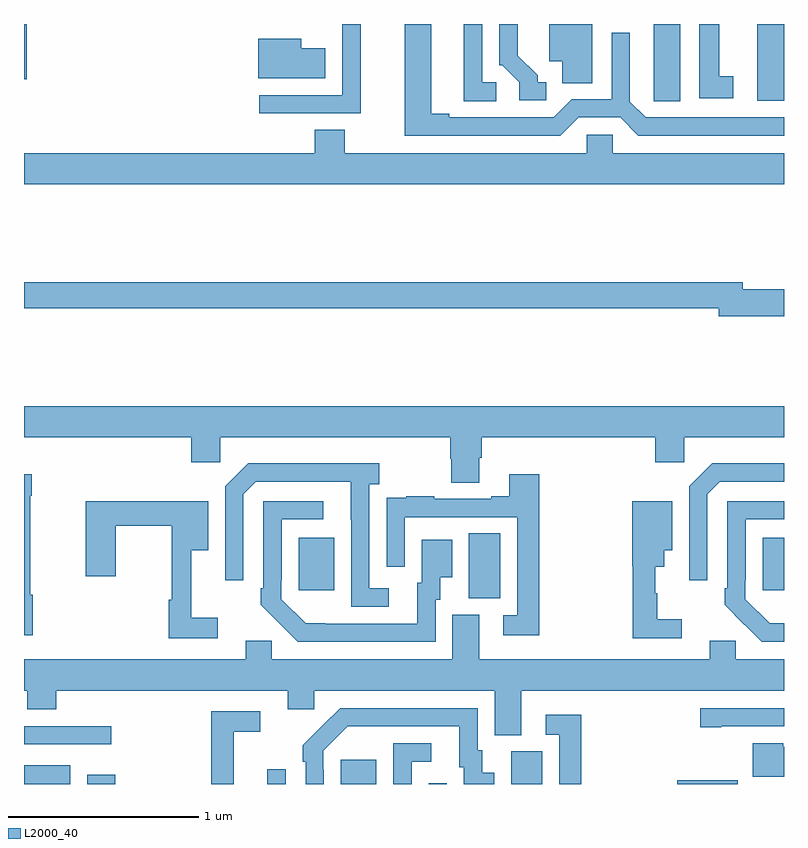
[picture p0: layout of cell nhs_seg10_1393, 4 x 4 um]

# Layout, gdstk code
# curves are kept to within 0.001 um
import gdstk
lib = gdstk.Library(unit=1e-6, precision=1e-09)
def R(c, l, rs):  # rectangles x0, y0, x1, y1
    for r in rs: c.add(gdstk.rectangle(r[:2], r[2:], *l))
def P(c, l, *ps):  # polygons
    for p in ps: c.add(gdstk.Polygon(p, *l))
L2000_40 = (2000, 40)

nhs_seg10_1393 = lib.new_cell('nhs_seg10_1393')
R(nhs_seg10_1393, L2000_40, [(183,1290.5,183.244,1290.598), (183.332,1290.5,183.479,1290.55), (184.281,1290.5,184.377,1290.577), (184.667,1290.5,184.855,1290.628), (185.13,1290.5,185.226,1290.505), (185.564,1290.5,185.728,1290.672), (186.437,1290.5,186.757,1290.52), (183,1290.708,183.46,1290.804), (185.342,1291.477,185.506,1291.82), (184.445,1291.521,184.633,1291.795), (186.887,1291.521,187,1291.795), (186.86,1294.095,187,1294.5), (183,1294.209,183.014,1294.5)])
P(nhs_seg10_1393, L2000_40, [(186.733,1294.226),(186.658,1294.226),(186.658,1294.5),(186.554,1294.5),(186.554,1294.11),(186.733,1294.11)],
  [(185.749,1294.194),(185.704,1294.194),(185.704,1294.229),(185.599,1294.334),(185.599,1294.5),(185.502,1294.5),(185.502,1294.284),(185.517,1294.284),(185.607,1294.194),(185.607,1294.098),(185.749,1294.098)],
  [(185.992,1294.5),(185.765,1294.5),(185.765,1294.304),(185.834,1294.304),(185.834,1294.189),(185.992,1294.189)],
  [(186.454,1294.5),(186.314,1294.5),(186.314,1294.201),(186.315,1294.201),(186.315,1294.093),(186.454,1294.093)],
  [(185.919,1294.008),(186.137,1294.008),(186.233,1293.912),(187,1293.912),(187,1294.008),(186.273,1294.008),(186.189,1294.092),(186.189,1294.453),(186.093,1294.453),(186.093,1294.104),(185.883,1294.104),(185.787,1294.008),(185.239,1294.008),(185.239,1294.028),(185.143,1294.028),(185.143,1294.5),(185.003,1294.5),(185.003,1293.912),(185.823,1293.912)],
  [(185.485,1294.194),(185.412,1294.194),(185.412,1294.5),(185.315,1294.5),(185.315,1294.093),(185.485,1294.093)],
  [(184.773,1294.5),(184.674,1294.5),(184.674,1294.125),(184.239,1294.125),(184.239,1294.029),(184.773,1294.029)],
  [(184.585,1294.372),(184.459,1294.372),(184.459,1294.423),(184.232,1294.423),(184.232,1294.214),(184.585,1294.214)],
  [(187,1293.82),(186.099,1293.82),(186.099,1293.918),(185.961,1293.918),(185.961,1293.82),(184.689,1293.82),(184.689,1293.944),(184.529,1293.944),(184.529,1293.82),(183,1293.82),(183,1293.656),(187,1293.656)],
  [(187,1293.104),(186.784,1293.104),(186.784,1293.14),(183,1293.14),(183,1293.004),(186.656,1293.004),(186.656,1292.962),(187,1292.962)],
  [(185.395,1292.218),(185.408,1292.218),(185.408,1292.324),(186.323,1292.324),(186.323,1292.193),(186.474,1292.193),(186.474,1292.324),(187,1292.324),(187,1292.488),(183,1292.488),(183,1292.324),(183.881,1292.324),(183.881,1292.193),(184.032,1292.193),(184.032,1292.324),(185.243,1292.324),(185.243,1292.211),(185.248,1292.211),(185.248,1292.086),(185.395,1292.086)],
  [(184.921,1291.53),(184.818,1291.53),(184.818,1292.078),(184.87,1292.078),(184.87,1292.188),(184.18,1292.188),(184.059,1292.067),(184.059,1291.572),(184.155,1291.572),(184.155,1292.025),(184.221,1292.091),(184.721,1292.091),(184.722,1291.434),(184.921,1291.434)],
  [(186.597,1292.025),(186.663,1292.091),(187,1292.091),(187,1292.188),(186.622,1292.188),(186.501,1292.067),(186.501,1291.572),(186.597,1291.572)],
  [(183.047,1291.496),(183.032,1291.496),(183.032,1292.018),(183.041,1292.018),(183.041,1292.131),(183,1292.131),(183,1291.284),(183.047,1291.284)],
  [(185.711,1292.131),(185.555,1292.131),(185.555,1292.014),(185.459,1292.014),(185.459,1292.001),(185.159,1292.001),(185.159,1292.014),(185.011,1292.014),(185.011,1292.007),(184.909,1292.007),(184.909,1291.898),(184.908,1291.898),(184.908,1291.644),(185.004,1291.644),(185.004,1291.905),(185.595,1291.905),(185.595,1291.389),(185.523,1291.389),(185.523,1291.284),(185.711,1291.284)],
  [(187,1291.345),(186.924,1291.345),(186.795,1291.473),(186.795,1291.573),(186.798,1291.573),(186.798,1291.893),(187,1291.893),(187,1291.989),(186.702,1291.989),(186.702,1291.531),(186.687,1291.531),(186.687,1291.443),(186.884,1291.248),(187,1291.248)],
  [(185.166,1291.47),(185.191,1291.47),(185.191,1291.589),(185.254,1291.589),(185.254,1291.786),(185.093,1291.786),(185.093,1291.56),(185.069,1291.56),(185.069,1291.344),(184.482,1291.345),(184.353,1291.473),(184.353,1291.573),(184.356,1291.573),(184.356,1291.893),(184.576,1291.893),(184.576,1291.989),(184.26,1291.989),(184.26,1291.531),(184.245,1291.531),(184.245,1291.443),(184.442,1291.248),(185.166,1291.248)],
  [(184.021,1291.375),(183.881,1291.375),(183.881,1291.73),(183.97,1291.73),(183.97,1291.987),(183.326,1291.987),(183.326,1291.593),(183.484,1291.593),(183.484,1291.858),(183.778,1291.858),(183.778,1291.469),(183.763,1291.469),(183.763,1291.266),(184.021,1291.266)],
  [(186.463,1291.367),(186.334,1291.367),(186.334,1291.503),(186.323,1291.503),(186.323,1291.643),(186.37,1291.643),(186.37,1291.73),(186.412,1291.73),(186.412,1291.987),(186.2,1291.987),(186.2,1291.647),(186.205,1291.647),(186.205,1291.266),(186.463,1291.266)],
  [(185.617,1290.992),(187,1290.992),(187,1291.156),(186.747,1291.156),(186.747,1291.254),(186.608,1291.254),(186.608,1291.156),(185.395,1291.156),(185.395,1291.392),(185.255,1291.392),(185.255,1291.156),(184.305,1291.156),(184.305,1291.254),(184.166,1291.254),(184.166,1291.156),(183,1291.156),(183,1290.992),(183.017,1290.992),(183.017,1290.893),(183.17,1290.893),(183.17,1290.992),(184.388,1290.992),(184.388,1290.894),(184.527,1290.894),(184.527,1290.992),(185.477,1290.992),(185.477,1290.757),(185.617,1290.757)],
  [(184.578,1290.575),(184.575,1290.575),(184.575,1290.675),(184.704,1290.804),(185.291,1290.804),(185.291,1290.588),(185.315,1290.588),(185.315,1290.5),(185.476,1290.5),(185.476,1290.559),(185.413,1290.559),(185.413,1290.678),(185.388,1290.678),(185.388,1290.9),(184.664,1290.9),(184.467,1290.705),(184.467,1290.617),(184.482,1290.617),(184.482,1290.5),(184.578,1290.5)],
  [(186.67,1290.804),(187,1290.804),(187,1290.9),(186.558,1290.9),(186.558,1290.799),(186.67,1290.799)],
  [(184.103,1290.774),(184.243,1290.774),(184.243,1290.882),(183.985,1290.882),(183.985,1290.5),(184.103,1290.5)],
  [(185.933,1290.865),(185.745,1290.865),(185.745,1290.759),(185.817,1290.759),(185.817,1290.5),(185.933,1290.5)],
  [(187,1290.697),(186.996,1290.697),(186.996,1290.715),(186.836,1290.715),(186.836,1290.539),(187,1290.539)],
  [(185.04,1290.618),(185.143,1290.618),(185.143,1290.714),(184.944,1290.714),(184.944,1290.5),(185.04,1290.5)])

lib.write_gds('nhs_seg10_1393.gds')
